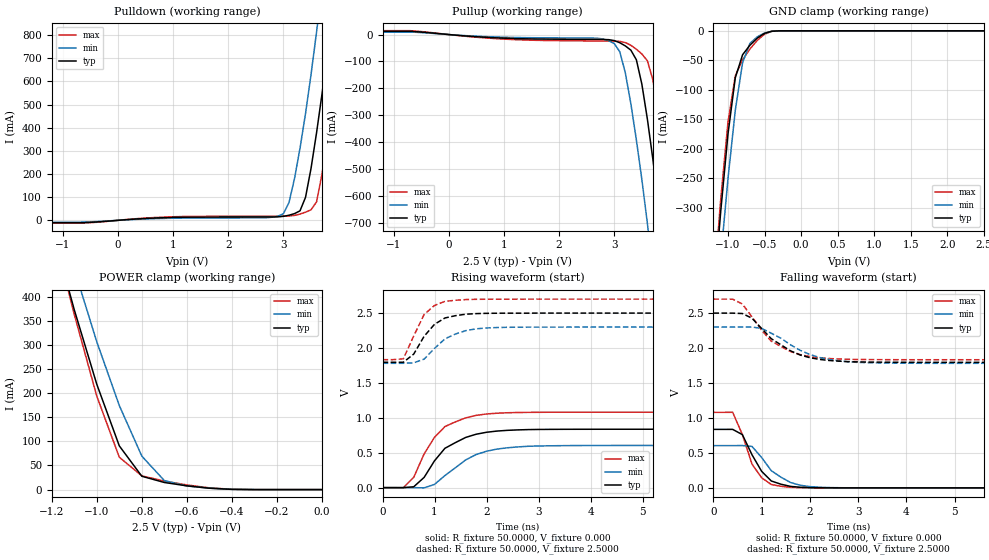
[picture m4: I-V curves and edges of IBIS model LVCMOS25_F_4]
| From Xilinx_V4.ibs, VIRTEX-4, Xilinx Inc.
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|   Model LVCMOS25_F_4
[Model]   LVCMOS25_F_4
Model_type   I/O
Polarity   Non-Inverting
Enable   Active-Low
Vinh = 1.7V
Vinl = 0.7V
Vmeas =   1.2500V
Cref =  0.000F
Rref =   1.0000M
Vref =  0.000V
C_comp   8.0000pF   8.0000pF   8.0000pF
[Temperature Range]   25.0000   85.0000   0.000
[Voltage Range]   2.5000V   2.3000V   2.7000V
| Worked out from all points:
|   slope of the pulldown table from 0 to 0.375 V, typ, clamps not added: 59.2 ohm
|   slope of the pullup table from 0 to 0.375 V, typ, clamps not added: 59.9 ohm
|   GND clamp passes 1 mA (typ) near -0.41 V on its own axis
|   POWER clamp passes 1 mA (typ) near -0.42 V on its own axis
|   rising waveform, R_fixture 50.0000, V_fixture 0.000: 20-80 % time 649ps typ, 723ps min, 545ps max; typ from 0 V to 0.836 V
|   rising waveform, R_fixture 50.0000, V_fixture 2.5000: 20-80 % time 425ps typ, 532ps min, 374ps max; typ from 1.8 V to 2.5 V
|   falling waveform, R_fixture 50.0000, V_fixture 0.000: 20-80 % time 435ps typ, 546ps min, 390ps max; typ from 0.836 V to 0 V
|   falling waveform, R_fixture 50.0000, V_fixture 2.5000: 20-80 % time 783ps typ, 863ps min, 732ps max; typ from 2.5 V to 1.8 V
[Pulldown]
| voltage   I(typ)   I(min)   I(max)
-2.5V     -10.54mA   -7.99mA    -12.18mA
3V        17.2mA     28.51mA    17.91mA
3.1V      22.04mA    76.67mA    18.46mA
3.3V      40.98mA    311.2mA    27.13mA
3.4V      99.4mA     461.2mA    35.18mA
3.5V      224.7mA    629.7mA    45.6mA
3.6V      378.3mA    813.4mA    79.59mA
3.7V      547.7mA    1.006A     200.9mA
3.8V      730mA      1.206A     368.8mA
4V        1.118A     1.608A     746.3mA
4.2V      1.522A     2.01A      1.15A
5V        3.153A     3.623A     2.851A
[Pullup]
| voltage   I(typ)   I(min)   I(max)
-2.5V     12.1mA     8.84mA     14.42mA
2.7V      -18.31mA   -13.75mA   -24.14mA
3V        -22.49mA   -33.75mA   -24.7mA
3.1V      -30.49mA   -64.42mA   -25.48mA
3.2V      -42.31mA   -142.7mA   -29.87mA
3.4V      -93.82mA   -391.8mA   -54.61mA
3.6V      -315.3mA   -703.6mA   -97.67mA
3.7V      -465.5mA   -884.1mA   -169.4mA
3.8V      -630.5mA   -1.079A    -297.3mA
4V        -1.009A    -1.475A    -622mA
4.2V      -1.419A    -1.872A    -1.001A
5V        -3.068A    -3.464A    -2.687A
[GND_clamp]
| voltage   I(typ)   I(min)   I(max)
-2.5V     -3.065A    -3.063A    -3.107A
-1.2V     -458.4mA   -535.2mA   -443.2mA
-1.1V     -307mA     -386mA     -286.5mA
-1V       -174.9mA   -250.6mA   -154.8mA
-900mV    -79.61mA   -134.7mA   -76.27mA
-800mV    -40.54mA   -53.98mA   -48.94mA
-700mV    -24.41mA   -21.32mA   -30.96mA
-600mV    -12.44mA   -10.24mA   -16.17mA
-500mV    -4.23mA    -3.859mA   -5.633mA
-400mV    -647uA     -794.1uA   -841.7uA
-300mV    -43.22uA   -80.7uA    -50.76uA
2.5V      253.9nA    6.694uA    250.9nA
[POWER_clamp]
| voltage   I(typ)   I(min)   I(max)
-2.5V     3.15A      3.218A     3.278A
-1.2V     543.3mA    626.5mA    548.4mA
-1.1V     373.1mA    457.2mA    363.5mA
-1V       218.5mA    306.5mA    193.9mA
-900mV    90.67mA    174.3mA    67.17mA
-800mV    27.68mA    69.38mA    28.46mA
-700mV    14.76mA    18.63mA    17.76mA
-600mV    7.79mA     7.541mA    9.625mA
-500mV    2.851mA    2.955mA    3.657mA
-400mV    489.5uA    668.3uA    637.7uA
0V        253.9nA    270.9nA    271.7nA
[Ramp]
| variable   typ   min   max
dV/dt_r   0.5019/0.5924n   0.3626/0.6515n   0.6480/0.5332n
dV/dt_f   0.4224/0.7177n   0.3114/0.8157n   0.5202/0.6596n
R_load = 50.0000
[Rising Waveform]
R_fixture = 50.0000
V_fixture = 0.000
| time   V(typ)   V(min)   V(max)
0s        0V         1.057uV    0V
400ps     -69.64uV   -848nV     -1.209mV
600ps     12.2mV     -554.3uV   147.7mV
800ps     146.9mV    -3.226mV   483.2mV
1ns       384.7mV    46.35mV    721.5mV
1.2ns     563.6mV    173.6mV    874.7mV
1.8ns     765mV      473.9mV    1.035V
2.2ns     810.2mV    551.9mV    1.066V
3ns       833.4mV    596.7mV    1.079V
10ns      836.5mV    604.3mV    1.08V
[Rising Waveform]
R_fixture = 50.0000
V_fixture = 2.5000
V_fixture_min = 2.3000
V_fixture_max = 2.7000
| time   V(typ)   V(min)   V(max)
0s        1.796V     1.781V     1.833V
400ps     1.796V     1.781V     1.845V
600ps     1.913V     1.788V     2.173V
800ps     2.168V     1.841V     2.48V
1ns       2.34V      1.995V     2.609V
1.2ns     2.43V      2.131V     2.668V
1.6ns     2.484V     2.248V     2.693V
1.8ns     2.493V     2.275V     2.697V
2.2ns     2.498V     2.293V     2.699V
10ns      2.5V       2.3V       2.7V
[Falling Waveform]
R_fixture = 50.0000
V_fixture = 0.000
| time   V(typ)   V(min)   V(max)
0s        836.5mV    604.3mV    1.08V
400ps     836.7mV    604.3mV    1.081V
600ps     761.9mV    605.1mV    763.8mV
800ps     473.9mV    592.9mV    339.6mV
1ns       236mV      433.5mV    144.5mV
1.2ns     98.35mV    245.5mV    47.96mV
1.4ns     51.94mV    152.7mV    22.29mV
1.8ns     8.352mV    36.96mV    2.533mV
2.4ns     513.8uV    4.072mV    83.87uV
10ns      694.4nV    1.687uV    0V
[Falling Waveform]
R_fixture = 50.0000
V_fixture = 2.5000
V_fixture_min = 2.3000
V_fixture_max = 2.7000
| time   V(typ)   V(min)   V(max)
0s        2.5V       2.3V       2.7V
400ps     2.499V     2.3V       2.7V
600ps     2.494V     2.3V       2.631V
800ps     2.427V     2.301V     2.446V
1ns       2.28V      2.28V      2.255V
1.2ns     2.133V     2.212V     2.098V
1.6ns     1.959V     2.046V     1.95V
2.2ns     1.837V     1.865V     1.861V
3.6ns     1.798V     1.786V     1.834V
10ns      1.796V     1.781V     1.833V
